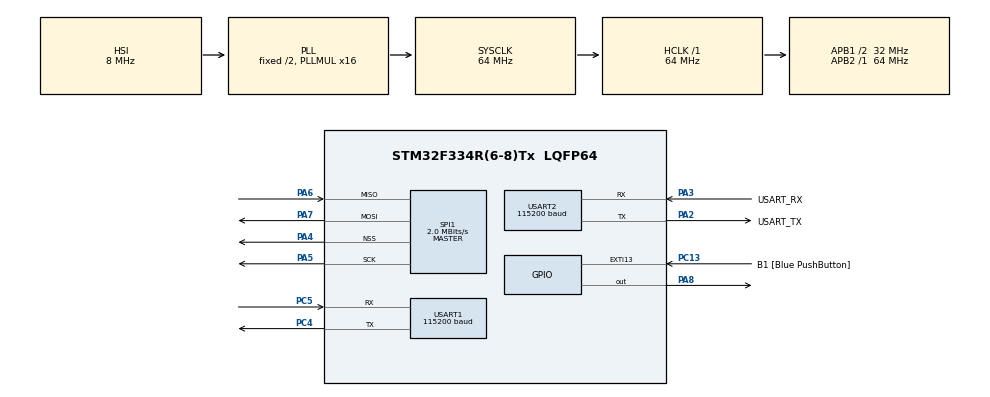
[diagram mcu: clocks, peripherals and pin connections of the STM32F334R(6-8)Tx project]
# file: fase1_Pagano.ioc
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Mcu.Family=STM32F3
Mcu.Name=STM32F334R(6-8)Tx
Mcu.Package=LQFP64
NVIC.PriorityGroup=NVIC_PRIORITYGROUP_0
NVIC.USART1_IRQn=true\:0\:0\:false\:true\:true\:2
PA13.GPIO_Label=TMS
PA13.Signal=SYS_JTMS-SWDIO
PA14.GPIO_Label=TCK
PA14.Signal=SYS_JTCK-SWCLK
PA2.GPIO_Label=USART_TX
PA2.Mode=Asynchronous
PA2.Signal=USART2_TX
PA3.GPIO_Label=USART_RX
PA3.Mode=Asynchronous
PA3.Signal=USART2_RX
PA4.Mode=NSS_Signal_Hard_Output
PA4.Signal=SPI1_NSS
PA5.Mode=Full_Duplex_Master
PA5.Signal=SPI1_SCK
PA6.Mode=Full_Duplex_Master
PA6.Signal=SPI1_MISO
PA7.Mode=Full_Duplex_Master
PA7.Signal=SPI1_MOSI
PA8.Signal=GPIO_Output
PB3.GPIO_Label=SWO
PB3.Signal=SYS_JTDO-TRACESWO
PC13.GPIO_Label=B1 [Blue PushButton]
PC13.GPIO_ModeDefaultEXTI=GPIO_MODE_EVT_RISING
PC13.Signal=GPXTI13
PC14\ /\ OSC32_IN.Signal=RCC_OSC32_IN
PC15\ /\ OSC32_OUT.GPIO_Label=RCC_OSC32_OUT
PC15\ /\ OSC32_OUT.Signal=RCC_OSC32_OUT
PC4.Mode=Asynchronous
PC4.Signal=USART1_TX
PC5.Mode=Asynchronous
PC5.Signal=USART1_RX
PF0\ /\ OSC_IN.Signal=RCC_OSC_IN
PF1\ /\ OSC_OUT.Signal=RCC_OSC_OUT
ProjectManager.HeapSize=0x200
ProjectManager.StackSize=0x400
ProjectManager.TargetToolchain=EWARM
RCC.AHBFreq_Value=64000000
RCC.APB1CLKDivider=RCC_HCLK_DIV2
RCC.APB1Freq_Value=32000000
RCC.APB1TimFreq_Value=64000000
RCC.APB2Freq_Value=64000000
RCC.APB2TimFreq_Value=64000000
RCC.CortexFreq_Value=64000000
RCC.FLatency-AdvancedSettings=FLASH_LATENCY_2
RCC.HCLKFreq_Value=64000000
RCC.HSE_VALUE=8000000
RCC.HSI_VALUE=8000000
RCC.LSE_VALUE=32768
RCC.PLLMUL=RCC_PLL_MUL16
RCC.SYSCLKFreq_VALUE=64000000
RCC.SYSCLKSourceVirtual=RCC_SYSCLKSOURCE_PLLCLK
SPI1.BaudRatePrescaler=SPI_BAUDRATEPRESCALER_32
SPI1.CLKPolarity=SPI_POLARITY_LOW
SPI1.CalculateBaudRate=2.0 MBits/s
SPI1.DataSize=SPI_DATASIZE_8BIT
SPI1.Mode=SPI_MODE_MASTER
SPI1.NSSPMode=SPI_NSS_PULSE_ENABLE
SPI1.VirtualNSS=VM_NSSHARD
USART1.BaudRate=115200
USART1.WordLength=UART_WORDLENGTH_8B
USART2.BaudRate=115200
USART2.WordLength=UART_WORDLENGTH_8B
board=NUCLEO-F334R8

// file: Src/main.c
/**
  ******************************************************************************
  * File Name          : main.c
  * Description        : Main program body
  ******************************************************************************
  *
  * COPYRIGHT(c) 2016 STMicroelectronics
  *
  * Redistribution and use in source and binary forms, with or without modification,
  * are permitted provided that the following conditions are met:
  *   1. Redistributions of source code must retain the above copyright notice,
  *      this list of conditions and the following disclaimer.
  *   2. Redistributions in binary form must reproduce the above copyright notice,
  *      this list of conditions and the following disclaimer in the documentation
  *      and/or other materials provided with the distribution.
  *   3. Neither the name of STMicroelectronics nor the names of its contributors
  *      may be used to endorse or promote products derived from this software
  *      without specific prior written permission.
  *
  * THIS SOFTWARE IS PROVIDED BY THE COPYRIGHT HOLDERS AND CONTRIBUTORS "AS IS"
  * AND ANY EXPRESS OR IMPLIED WARRANTIES, INCLUDING, BUT NOT LIMITED TO, THE
  * IMPLIED WARRANTIES OF MERCHANTABILITY AND FITNESS FOR A PARTICULAR PURPOSE ARE
  * DISCLAIMED. IN NO EVENT SHALL THE COPYRIGHT HOLDER OR CONTRIBUTORS BE LIABLE
  * FOR ANY DIRECT, INDIRECT, INCIDENTAL, SPECIAL, EXEMPLARY, OR CONSEQUENTIAL
  * DAMAGES (INCLUDING, BUT NOT LIMITED TO, PROCUREMENT OF SUBSTITUTE GOODS OR
  * SERVICES; LOSS OF USE, DATA, OR PROFITS; OR BUSINESS INTERRUPTION) HOWEVER
  * CAUSED AND ON ANY THEORY OF LIABILITY, WHETHER IN CONTRACT, STRICT LIABILITY,
  * OR TORT (INCLUDING NEGLIGENCE OR OTHERWISE) ARISING IN ANY WAY OUT OF THE USE
  * OF THIS SOFTWARE, EVEN IF ADVISED OF THE POSSIBILITY OF SUCH DAMAGE.
  *
  ******************************************************************************
  */
#include "stm32f3xx_hal.h"

/* USER CODE BEGIN Includes */
#define BUFRXDIM 360
/* USER CODE END Includes */

SPI_HandleTypeDef hspi1;

UART_HandleTypeDef huart1;
UART_HandleTypeDef huart2;

/* USER CODE BEGIN PV */
/* Private variables ---------------------------------------------------------*/

/* USER CODE END PV */

void SystemClock_Config(void);
static void MX_GPIO_Init(void);
static void MX_SPI1_Init(void);
static void MX_USART1_UART_Init(void);
static void MX_USART2_UART_Init(void);
void MX_NVIC_Init(void);

/* USER CODE BEGIN PFP */
/* Private function prototypes -----------------------------------------------*/

/* USER CODE END PFP */

/* USER CODE BEGIN 0 */
uint8_t bufferURx; //singolo byte ricevuto dietro IT da UART1
uint8_t bufferSRx; //singolo byte ricevuto da SPI
uint8_t bufferSTx; //singolo byte trasmesso su SPI
uint8_t stateU, j, a; //stateU e' un flag che indica che è possibile stampare il buffer buf
uint8_t buf[BUFRXDIM]; //accumulatore di caratteri per stampa complessiva
uint8_t bufS[4]; //stringa usata per stampare il valore esadecimale inviato tramite SPI

/* USER CODE END 0 */

int main(void)
{

  /* USER CODE BEGIN 1 */
  HAL_StatusTypeDef stato; //per il confrollo del risultato delle operazioni di transmit o receive
  int c;
  stateU = bufferSTx = 0;
  j = a = 0;
  /* USER CODE END 1 */

  /* MCU Configuration----------------------------------------------------------*/

  /* Reset of all peripherals, Initializes the Flash interface and the Systick. */
  HAL_Init();

  /* Configure the system clock */
  SystemClock_Config();

  /* Initialize all configured peripherals */
  MX_GPIO_Init();
  MX_SPI1_Init();
  MX_USART1_UART_Init();
  MX_USART2_UART_Init();

  /* Initialize interrupts */
  MX_NVIC_Init();

  /* USER CODE BEGIN 2 */
  HAL_UART_Receive_IT(&huart1, &bufferURx, 1);

  /* USER CODE END 2 */

  /* Infinite loop */
  while (1)
  {

  /* USER CODE BEGIN 3 */

    if(stateU == 1){ //flag per indicare che è possibile stampare il buffer buf

      if(j == 0)HAL_UART_Transmit(&huart2, buf, BUFRXDIM, 1000);
      else {
        for(c = 0; c < j; c++)HAL_UART_Transmit(&huart2, &buf[c], 1, 100); //stampo a schermo il buffer buf a schermo fino all'ultimo carattere significativo
      }
      stateU = 0;
      j = 0;

    }

    if(a % 10 == 0){ //comportamento schedulato ogni 3 secondi (per leggibilita' su docklight)

      /*stato = HAL_SPI_Receive(&hspi1, &bufferSRx, 1, 300);
      if(stato == HAL_OK){
        HAL_UART_Transmit(&huart2, "\n\rSPI[f0]: ", 11, 100);
        HAL_UART_Transmit(&huart2, &bufferSRx, 1, 100);
        HAL_UART_Transmit(&huart2, "\n\r", 2, 100);
      }*/

      /*memset(&hspi1.Instance->DR, 0, 16);

      HAL_SPI_TransmitReceive(&hspi1, &bufferSTx, &bufferSRx, 1, 100);*/

      bufferSTx+=5; //preparo un nuovo valore da trasmettere
      sprintf(bufS, "%x", bufferSTx); //salvo tale valore su bufS per poterlo stampare su docklight

      //stato = HAL_SPI_Transmit(&hspi1, &bufferSTx, 1, 100);
      stato = HAL_SPI_TransmitReceive(&hspi1, &bufferSTx, &bufferSRx, 1, 100); //trametto e ricevo via SPI
      if(stato == HAL_OK){
        HAL_UART_Transmit(&huart2, "\n\rSPI[f3]: 0x", 13, 100);
        HAL_UART_Transmit(&huart2, bufS, 4, 100); //stampo il valore trasmesso tramite SPI
        HAL_UART_Transmit(&huart2, "\n\r", 2, 100);

        HAL_UART_Transmit(&huart2, "\n\rSPI[f0]: ", 11, 100);
        HAL_UART_Transmit(&huart2, &bufferSRx, 1, 100); //stanpo il valore ricevuto tramite SPI
        HAL_UART_Transmit(&huart2, "\n\r", 2, 100);

      }

      a = 0;

    }

    HAL_Delay(300);
    a++;

  }
  /* USER CODE END 3 */

}

/** System Clock Configuration
*/
void SystemClock_Config(void)
{

  RCC_OscInitTypeDef RCC_OscInitStruct;
  RCC_ClkInitTypeDef RCC_ClkInitStruct;
  RCC_PeriphCLKInitTypeDef PeriphClkInit;

  RCC_OscInitStruct.OscillatorType = RCC_OSCILLATORTYPE_HSI;
  RCC_OscInitStruct.HSIState = RCC_HSI_ON;
  RCC_OscInitStruct.HSICalibrationValue = 16;
  RCC_OscInitStruct.PLL.PLLState = RCC_PLL_ON;
  RCC_OscInitStruct.PLL.PLLSource = RCC_PLLSOURCE_HSI;
  RCC_OscInitStruct.PLL.PLLMUL = RCC_PLL_MUL16;
  HAL_RCC_OscConfig(&RCC_OscInitStruct);

  RCC_ClkInitStruct.ClockType = RCC_CLOCKTYPE_HCLK|RCC_CLOCKTYPE_SYSCLK
                              |RCC_CLOCKTYPE_PCLK1|RCC_CLOCKTYPE_PCLK2;
  RCC_ClkInitStruct.SYSCLKSource = RCC_SYSCLKSOURCE_PLLCLK;
  RCC_ClkInitStruct.AHBCLKDivider = RCC_SYSCLK_DIV1;
  RCC_ClkInitStruct.APB1CLKDivider = RCC_HCLK_DIV2;
  RCC_ClkInitStruct.APB2CLKDivider = RCC_HCLK_DIV1;
  HAL_RCC_ClockConfig(&RCC_ClkInitStruct, FLASH_LATENCY_2);

  PeriphClkInit.PeriphClockSelection = RCC_PERIPHCLK_USART1;
  PeriphClkInit.Usart1ClockSelection = RCC_USART1CLKSOURCE_PCLK1;
  HAL_RCCEx_PeriphCLKConfig(&PeriphClkInit);

  HAL_SYSTICK_Config(HAL_RCC_GetHCLKFreq()/1000);

  HAL_SYSTICK_CLKSourceConfig(SYSTICK_CLKSOURCE_HCLK);

  /* SysTick_IRQn interrupt configuration */
  HAL_NVIC_SetPriority(SysTick_IRQn, 0, 0);
}

/** NVIC Configuration
*/
void MX_NVIC_Init(void)
{
  /* USART1_IRQn interrupt configuration */
  HAL_NVIC_SetPriority(USART1_IRQn, 0, 0);
  HAL_NVIC_EnableIRQ(USART1_IRQn);
}

/* SPI1 init function */
void MX_SPI1_Init(void)
{

  hspi1.Instance = SPI1;
  hspi1.Init.Mode = SPI_MODE_MASTER;
  hspi1.Init.Direction = SPI_DIRECTION_2LINES;
  hspi1.Init.DataSize = SPI_DATASIZE_8BIT;
  hspi1.Init.CLKPolarity = SPI_POLARITY_LOW;
  hspi1.Init.CLKPhase = SPI_PHASE_1EDGE;
  hspi1.Init.NSS = SPI_NSS_HARD_OUTPUT;
  hspi1.Init.BaudRatePrescaler = SPI_BAUDRATEPRESCALER_32;
  hspi1.Init.FirstBit = SPI_FIRSTBIT_MSB;
  hspi1.Init.TIMode = SPI_TIMODE_DISABLE;
  hspi1.Init.CRCCalculation = SPI_CRCCALCULATION_DISABLE;
  hspi1.Init.CRCPolynomial = 7;
  hspi1.Init.CRCLength = SPI_CRC_LENGTH_DATASIZE;
  hspi1.Init.NSSPMode = SPI_NSS_PULSE_ENABLE;
  HAL_SPI_Init(&hspi1);

}

/* USART1 init function */
void MX_USART1_UART_Init(void)
{

  huart1.Instance = USART1;
  huart1.Init.BaudRate = 115200;
  huart1.Init.WordLength = UART_WORDLENGTH_8B;
  huart1.Init.StopBits = UART_STOPBITS_1;
  huart1.Init.Parity = UART_PARITY_NONE;
  huart1.Init.Mode = UART_MODE_TX_RX;
  huart1.Init.HwFlowCtl = UART_HWCONTROL_NONE;
  huart1.Init.OverSampling = UART_OVERSAMPLING_16;
  huart1.Init.OneBitSampling = UART_ONE_BIT_SAMPLE_DISABLE;
  huart1.AdvancedInit.AdvFeatureInit = UART_ADVFEATURE_NO_INIT;
  HAL_UART_Init(&huart1);

}

/* USART2 init function */
void MX_USART2_UART_Init(void)
{

  huart2.Instance = USART2;
  huart2.Init.BaudRate = 115200;
  huart2.Init.WordLength = UART_WORDLENGTH_8B;
  huart2.Init.StopBits = UART_STOPBITS_1;
  huart2.Init.Parity = UART_PARITY_NONE;
  huart2.Init.Mode = UART_MODE_TX_RX;
  huart2.Init.HwFlowCtl = UART_HWCONTROL_NONE;
  huart2.Init.OverSampling = UART_OVERSAMPLING_16;
  huart2.Init.OneBitSampling = UART_ONE_BIT_SAMPLE_DISABLE;
  huart2.AdvancedInit.AdvFeatureInit = UART_ADVFEATURE_NO_INIT;
  HAL_UART_Init(&huart2);

}

/** Configure pins as
        * Analog
        * Input
        * Output
        * EVENT_OUT
        * EXTI
*/
void MX_GPIO_Init(void)
{

  GPIO_InitTypeDef GPIO_InitStruct;

  /* GPIO Ports Clock Enable */
  __HAL_RCC_GPIOC_CLK_ENABLE();
  __HAL_RCC_GPIOF_CLK_ENABLE();
  __HAL_RCC_GPIOA_CLK_ENABLE();
  __HAL_RCC_GPIOB_CLK_ENABLE();

  /*Configure GPIO pin : B1_Pin */
  GPIO_InitStruct.Pin = B1_Pin;
  GPIO_InitStruct.Mode = GPIO_MODE_EVT_RISING;
  GPIO_InitStruct.Pull = GPIO_NOPULL;
  HAL_GPIO_Init(B1_GPIO_Port, &GPIO_InitStruct);

  /*Configure GPIO pin : PA8 */
  GPIO_InitStruct.Pin = GPIO_PIN_8;
  GPIO_InitStruct.Mode = GPIO_MODE_OUTPUT_PP;
  GPIO_InitStruct.Pull = GPIO_NOPULL;
  GPIO_InitStruct.Speed = GPIO_SPEED_FREQ_LOW;
  HAL_GPIO_Init(GPIOA, &GPIO_InitStruct);

  /*Configure GPIO pin Output Level */
  HAL_GPIO_WritePin(GPIOA, GPIO_PIN_8, GPIO_PIN_RESET);

}

/* USER CODE BEGIN 4 */

void HAL_UART_RxCpltCallback(UART_HandleTypeDef *huart)
{

  char aux = (char)bufferURx; //memorizzo il carattere in una variabile di appoggio

  if(huart == &huart1){

    buf[j] = bufferURx;
    j = (j+1)%BUFRXDIM;

    if(j == 0 || aux == '\r'){//è stata raggiunta la dimensione massima del buffer buf o è stato incontrato un ritorno a capo

        stateU = 1; //flag per indicare che il buffer buf può essere letto nel main

    }

    HAL_UART_Receive_IT(&huart1, &bufferURx, 1); //riabilito l'interrupt
    return;

  }

}

/* USER CODE END 4 */

/************************ (C) COPYRIGHT STMicroelectronics *****END OF FILE****/
